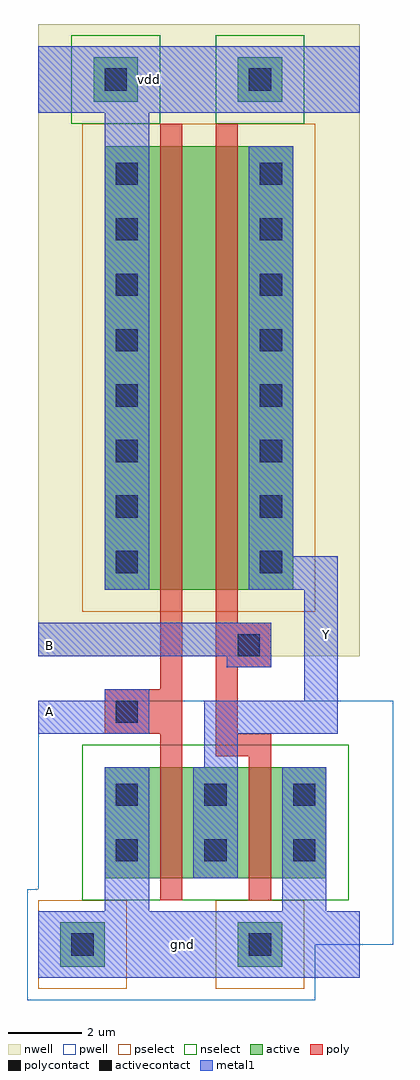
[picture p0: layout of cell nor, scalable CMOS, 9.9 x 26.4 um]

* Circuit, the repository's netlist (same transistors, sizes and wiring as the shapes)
* FILE: nor.sp


* SPICE netlist for "nor" generated by MMI_SUE5.6.29 on Wed Oct 18 
*+ 18:13:33 CDT 2017.

.SUBCKT nor A B Y 
M_1 Y A gnd gnd n W='3*1u' L='0.6*1u' 
M_2 Y B gnd gnd n W='3*1u' L='0.6*1u' 
M_3 Y A net_1 vdd p W='12*1u' L='0.6*1u' 
M_4 net_1 B vdd vdd p W='12*1u' L='0.6*1u' 
.ENDS	$ nor

.GLOBAL gnd vdd

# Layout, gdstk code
import gdstk
lib = gdstk.Library(unit=1e-6, precision=1e-09)
def R(c, l, rs):  # rectangles x0, y0, x1, y1
    for r in rs: c.add(gdstk.rectangle(r[:2], r[2:], *l))
def A(c, l, x, y, w, h, nx, ny, dx, dy):  # array of equal rectangles
    R(c, l, [(x+i*dx, y+j*dy, x+i*dx+w, y+j*dy+h) for i in range(nx) for j in range(ny)])
pwell = (41, 0)
nwell = (42, 0)
active = (43, 0)
pselect = (44, 0)
nselect = (45, 0)
poly = (46, 0)
polycontact = (47, 0)
activecontact = (48, 0)
metal1 = (49, 0)

nor = lib.new_cell('nor')
R(nor, pwell, [(-1.5,-1.5,6.3,0), (-1.5,0,8.4,1.5), (-1.2,1.5,8.4,6.6)])
R(nor, nwell, [(-1.2,7.8,7.5,24.9)])
R(nor, active, [(-0.6,-0.6,0.6,0.6), (4.2,-0.6,5.4,0.6), (0.6,1.8,6.6,4.8), (0.6,9.6,5.7,21.6), (0.3,22.8,1.5,24), (4.2,22.8,5.4,24)])
R(nor, pselect, [(-1.2,-1.2,1.2,1.2), (3.6,-1.2,6,1.2), (0,9,6.3,22.2)])
R(nor, nselect, [(0,1.2,7.2,5.4), (-0.3,22.2,2.1,24.6), (3.6,22.2,6,24.6)])
R(nor, poly, [(2.1,1.2,2.7,5.7), (4.5,1.2,5.1,5.1), (3.6,5.1,5.1,5.7), (0.6,5.7,2.7,6.9), (3.6,5.7,4.2,7.5), (2.1,6.9,2.7,22.2), (3.6,7.5,5.1,8.7), (3.6,8.7,4.2,22.2)])
R(nor, polycontact, [(0.9,6,1.5,6.6), (4.2,7.8,4.8,8.4)])
A(nor, activecontact, 0.9, 2.25, 0.6, 0.6, 3, 2, 2.4, 1.5)
A(nor, activecontact, 0.9, 10.05, 0.6, 0.6, 1, 8, 0, 1.5)
A(nor, activecontact, 4.8, 10.05, 0.6, 0.6, 1, 8, 0, 1.5)
R(nor, activecontact, [(-0.3,-0.3,0.3,0.3), (4.5,-0.3,5.1,0.3), (0.6,23.1,1.2,23.7), (4.5,23.1,5.1,23.7)])
R(nor, metal1, [(-1.2,-0.9,7.5,0.9), (0.6,0.9,1.8,4.8), (5.4,0.9,6.6,4.8), (3,1.8,4.2,4.8), (3.3,4.8,4.2,5.7), (-1.2,5.7,1.8,6.6), (3.3,5.7,6.9,6.6), (0.6,6.6,1.8,6.9), (6,6.6,6.9,9.6), (3.9,7.5,5.1,7.8), (-1.2,7.8,5.1,8.7), (0.6,9.6,1.8,22.5), (4.5,9.6,6.9,10.5), (4.5,10.5,5.7,21.6), (-1.2,22.5,7.5,24.3)])
nor.add(gdstk.Label('gnd', (2.7,0), layer=49, texttype=0))
nor.add(gdstk.Label('A', (-0.9,6.3), layer=49, texttype=0))
nor.add(gdstk.Label('Y', (6.6,8.4), layer=49, texttype=0))
nor.add(gdstk.Label('B', (-0.9,8.1), layer=49, texttype=0))
nor.add(gdstk.Label('vdd', (1.8,23.4), layer=49, texttype=0))

lib.write_gds('nor.gds')
